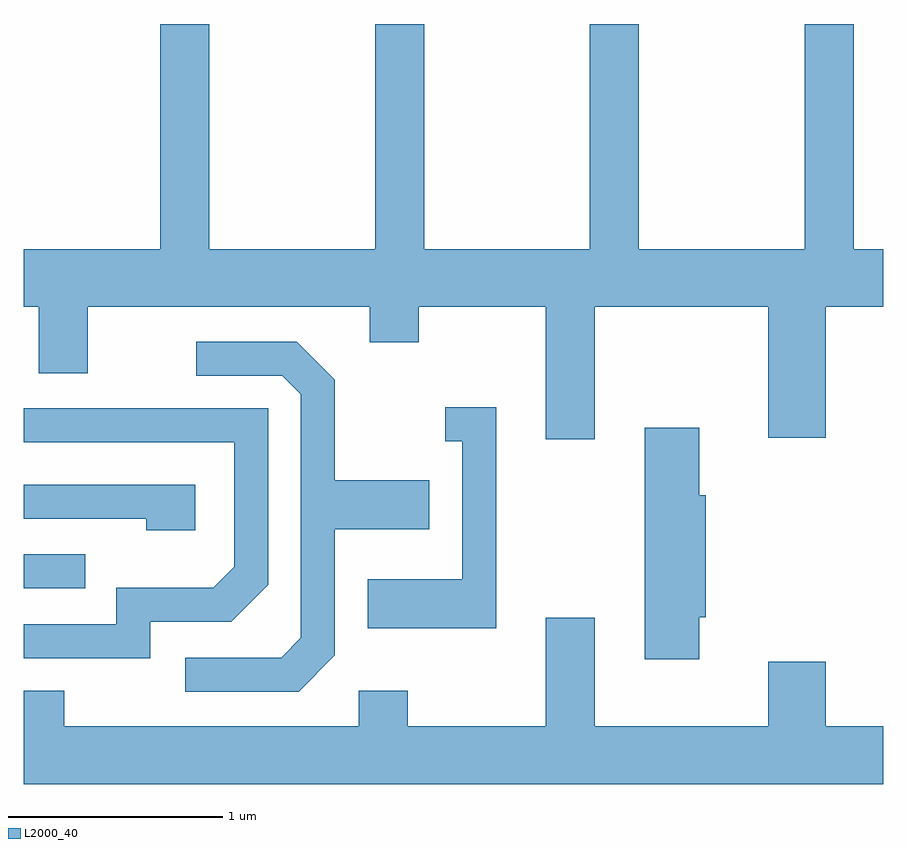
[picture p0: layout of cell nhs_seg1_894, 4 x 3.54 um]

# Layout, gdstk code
import gdstk
lib = gdstk.Library(unit=1e-6, precision=1e-09)
def R(c, l, rs):  # rectangles x0, y0, x1, y1
    for r in rs: c.add(gdstk.rectangle(r[:2], r[2:], *l))
def P(c, l, *ps):  # polygons
    for p in ps: c.add(gdstk.Polygon(p, *l))
L2000_40 = (2000, 40)

nhs_seg1_894 = lib.new_cell('nhs_seg1_894')
R(nhs_seg1_894, L2000_40, [(211.611,967.086,211.898,967.244)])
P(nhs_seg1_894, L2000_40, [(214.269,968.396),(215.076,968.396),(215.076,967.786),(215.344,967.786),(215.344,968.396),(215.611,968.396),(215.611,968.664),(215.474,968.664),(215.474,969.712),(215.246,969.712),(215.246,968.664),(214.474,968.664),(214.474,969.712),(214.246,969.712),(214.246,968.664),(213.474,968.664),(213.474,969.712),(213.246,969.712),(213.246,968.664),(212.474,968.664),(212.474,969.712),(212.246,969.712),(212.246,968.664),(211.611,968.664),(211.611,968.396),(211.681,968.396),(211.681,968.086),(211.909,968.086),(211.909,968.396),(213.221,968.396),(213.221,968.231),(213.449,968.231),(213.449,968.396),(214.041,968.396),(214.041,967.781),(214.269,967.781)],
  [(213.059,966.774),(213.059,967.361),(213.499,967.361),(213.499,967.589),(213.059,967.589),(213.059,968.057),(212.882,968.234),(212.413,968.234),(212.413,968.076),(212.814,968.076),(212.901,967.989),(212.901,966.857),(212.809,966.764),(212.363,966.764),(212.363,966.606),(212.892,966.606)],
  [(213.809,967.929),(213.573,967.929),(213.573,967.771),(213.651,967.771),(213.651,967.129),(213.211,967.129),(213.211,966.901),(213.809,966.901)],
  [(212.199,966.931),(212.577,966.931),(212.749,967.104),(212.749,967.924),(211.611,967.924),(211.611,967.766),(212.591,967.766),(212.591,967.187),(212.494,967.089),(212.041,967.089),(212.041,966.919),(211.611,966.919),(211.611,966.761),(212.199,966.761)],
  [(214.754,966.951),(214.784,966.951),(214.784,967.519),(214.754,967.519),(214.754,967.834),(214.501,967.834),(214.501,966.756),(214.754,966.756)],
  [(212.409,967.569),(211.611,967.569),(211.611,967.411),(212.181,967.411),(212.181,967.356),(212.409,967.356)],
  [(215.611,966.444),(215.344,966.444),(215.344,966.744),(215.076,966.744),(215.076,966.444),(214.269,966.444),(214.269,966.949),(214.041,966.949),(214.041,966.444),(213.399,966.444),(213.399,966.609),(213.171,966.609),(213.171,966.444),(211.799,966.444),(211.799,966.609),(211.611,966.609),(211.611,966.176),(215.611,966.176)])

lib.write_gds('nhs_seg1_894.gds')
